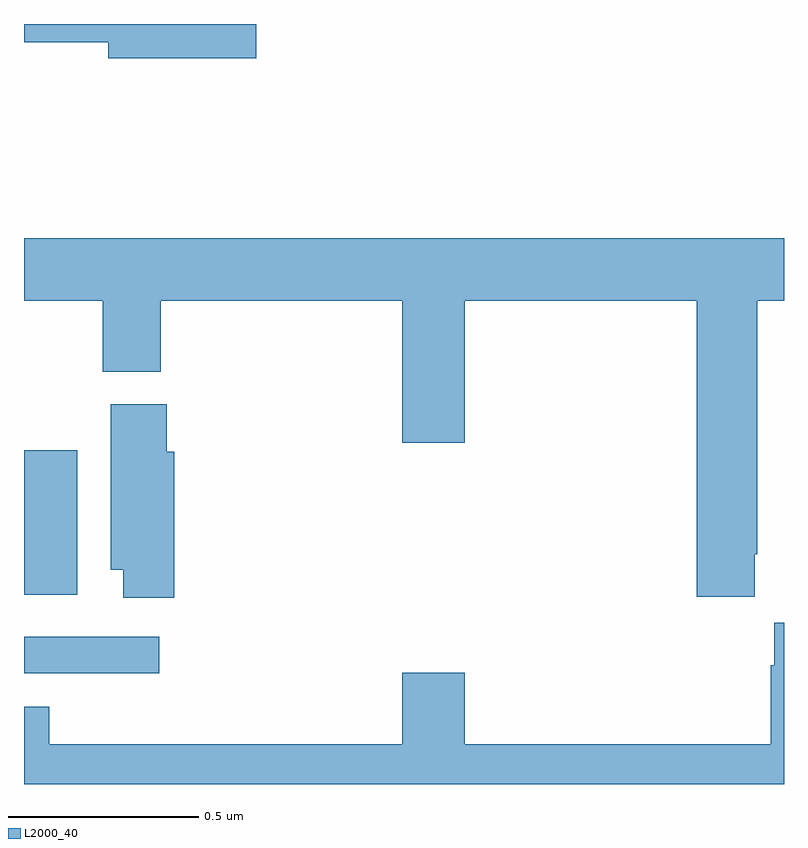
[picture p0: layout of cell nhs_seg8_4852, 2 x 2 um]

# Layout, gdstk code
import gdstk
lib = gdstk.Library(unit=1e-6, precision=1e-09)
def R(c, l, rs):  # rectangles x0, y0, x1, y1
    for r in rs: c.add(gdstk.rectangle(r[:2], r[2:], *l))
def P(c, l, *ps):  # polygons
    for p in ps: c.add(gdstk.Polygon(p, *l))
L2000_40 = (2000, 40)

nhs_seg8_4852 = lib.new_cell('nhs_seg8_4852')
R(nhs_seg8_4852, L2000_40, [(176,1110.192,176.356,1110.288)])
P(nhs_seg8_4852, L2000_40, [(176.611,1111.9),(176,1111.9),(176,1111.852),(176.222,1111.852),(176.222,1111.81),(176.611,1111.81)],
  [(177.923,1110.505),(177.93,1110.505),(177.93,1111.172),(178,1111.172),(178,1111.336),(176,1111.336),(176,1111.172),(176.207,1111.172),(176.207,1110.985),(176.36,1110.985),(176.36,1111.172),(176.996,1111.172),(176.996,1110.798),(177.16,1110.798),(177.16,1111.172),(177.77,1111.172),(177.77,1110.393),(177.923,1110.393)],
  [(176.396,1110.774),(176.375,1110.774),(176.375,1110.9),(176.228,1110.9),(176.228,1110.464),(176.261,1110.464),(176.261,1110.39),(176.396,1110.39)],
  [(176.14,1110.778),(176.001,1110.778),(176.001,1110.751),(176,1110.751),(176,1110.398),(176.14,1110.398)],
  [(178,1110.325),(177.974,1110.325),(177.974,1110.212),(177.965,1110.212),(177.965,1110.004),(177.16,1110.004),(177.16,1110.193),(176.996,1110.193),(176.996,1110.004),(176.066,1110.004),(176.066,1110.103),(176,1110.103),(176,1109.9),(178,1109.9)])

lib.write_gds('nhs_seg8_4852.gds')
